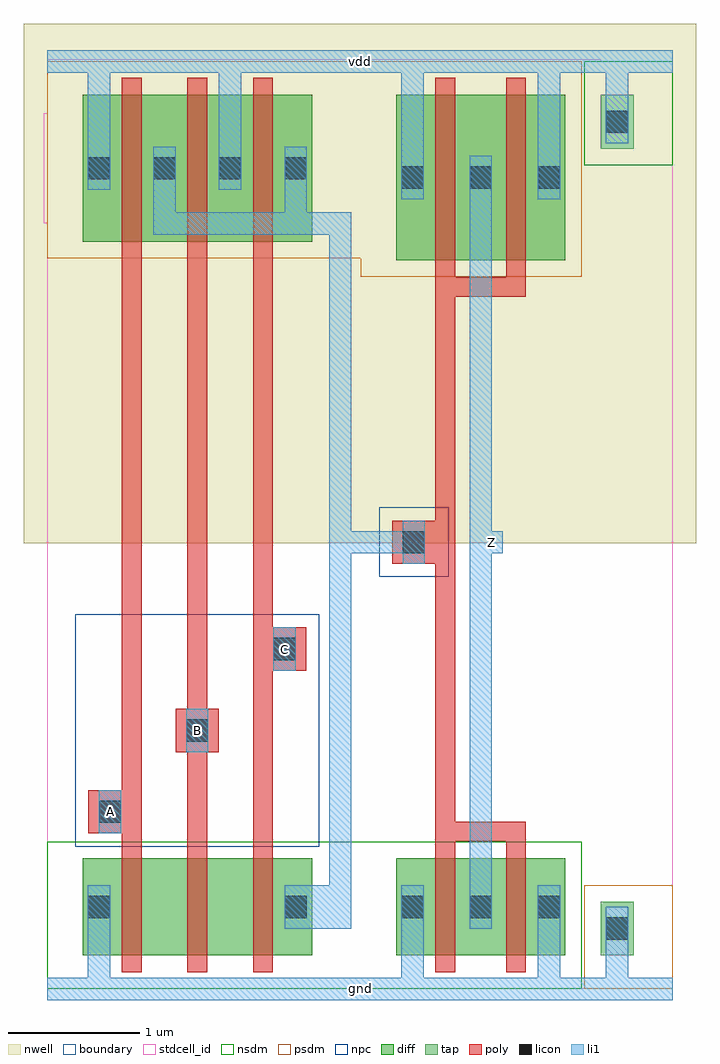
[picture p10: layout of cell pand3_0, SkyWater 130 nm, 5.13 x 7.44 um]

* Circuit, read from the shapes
.subckt pand3_0 A B C Z gnd vdd
XM1 pnand3_0/nmos_m1_w0_740_sli_dactive_3/D A gnd gnd sky130_fd_pr__nfet_01v8 w=0.74 l=0.15
XM2 pnand3_0/nmos_m1_w0_740_sactive_dactive_4/D B pnand3_0/nmos_m1_w0_740_sli_dactive_3/D gnd sky130_fd_pr__nfet_01v8 w=0.74 l=0.15
XM3 pdriver_3_1/A C pnand3_0/nmos_m1_w0_740_sactive_dactive_4/D gnd sky130_fd_pr__nfet_01v8 w=0.74 l=0.15
XM4 Z pdriver_3_1/A gnd gnd sky130_fd_pr__nfet_01v8 w=0.74 l=0.15 m=2
XM5 pdriver_3_1/A A vdd vdd sky130_fd_pr__pfet_01v8 w=1.12 l=0.15
XM6 vdd B pdriver_3_1/A vdd sky130_fd_pr__pfet_01v8 w=1.12 l=0.15
XM7 pdriver_3_1/A C vdd vdd sky130_fd_pr__pfet_01v8 w=1.12 l=0.15
XM8 Z pdriver_3_1/A vdd vdd sky130_fd_pr__pfet_01v8 w=1.26 l=0.15 m=2
.ends

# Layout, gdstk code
import gdstk
lib = gdstk.Library(unit=1e-6, precision=1e-09)
def R(c, l, rs):  # rectangles x0, y0, x1, y1
    for r in rs: c.add(gdstk.rectangle(r[:2], r[2:], *l))
def A(c, l, x, y, w, h, nx, ny, dx, dy):  # array of equal rectangles
    R(c, l, [(x+i*dx, y+j*dy, x+i*dx+w, y+j*dy+h) for i in range(nx) for j in range(ny)])
nwell = (64, 20)
diff = (65, 20)
tap = (65, 44)
poly = (66, 20)
licon = (66, 44)
li1 = (67, 20)
stdcell_id = (81, 4)
nsdm = (93, 44)
psdm = (94, 20)
npc = (95, 20)
boundary = (235, 4)

contact_11 = lib.new_cell('contact_11')
R(contact_11, nwell, [(-0.295,-0.255,0.545,0.585)])
R(contact_11, diff, [(0,0.02,0.25,0.31)])
R(contact_11, licon, [(0.04,0.08,0.21,0.25)])
R(contact_11, li1, [(0.04,0,0.21,0.33)])
R(contact_11, stdcell_id, [(-0.295,-0.255,0.545,0.585)])
R(contact_11, psdm, [(-0.125,-0.105,0.375,0.435)])
R(contact_11, boundary, [(-0.295,-0.255,0.545,0.585)])

pmos_m1_w1_120_sli_dli = lib.new_cell('pmos_m1_w1_120_sli_dli')
R(pmos_m1_w1_120_sli_dli, nwell, [(-0.27,-0.27,1.02,1.39)])
R(pmos_m1_w1_120_sli_dli, diff, [(0,0,0.75,1.12)])
R(pmos_m1_w1_120_sli_dli, poly, [(0.3,-0.13,0.45,1.25), (0.3,-0.13,0.45,1.25)])
R(pmos_m1_w1_120_sli_dli, li1, [(0.04,0.395,0.21,0.725), (0.54,0.395,0.71,0.725)])
R(pmos_m1_w1_120_sli_dli, stdcell_id, [(-0.27,-0.27,1.02,1.39)])
R(pmos_m1_w1_120_sli_dli, psdm, [(-0.125,-0.125,0.875,1.245)])
R(pmos_m1_w1_120_sli_dli, boundary, [(-0.27,-0.27,1.02,1.39)])
pmos_m1_w1_120_sli_dli.add(gdstk.Reference(contact_11, (0,0.395)))
pmos_m1_w1_120_sli_dli.add(gdstk.Reference(contact_11, (0.5,0.395)))
pmos_m1_w1_120_sli_dli.add(gdstk.Label('D', (0.625,0.56), layer=67, texttype=16))
pmos_m1_w1_120_sli_dli.add(gdstk.Label('S', (0.125,0.56), layer=67, texttype=16))
pmos_m1_w1_120_sli_dli.add(gdstk.Label('G', (0.375,0.56), layer=66, texttype=16))

contact_17 = lib.new_cell('contact_17')
R(contact_17, diff, [(0,0.02,0.25,0.31)])
R(contact_17, licon, [(0.04,0.08,0.21,0.25)])
R(contact_17, li1, [(0.04,0,0.21,0.33)])
R(contact_17, stdcell_id, [(-0.125,-0.105,0.375,0.435)])
R(contact_17, nsdm, [(-0.125,-0.105,0.375,0.435)])
R(contact_17, boundary, [(-0.125,-0.105,0.375,0.435)])

nmos_m1_w0_740_sli_dacti = lib.new_cell('nmos_m1_w0_740_sli_dactive')
R(nmos_m1_w0_740_sli_dacti, diff, [(0,0,0.75,0.74), (0.55,0.295,0.7,0.445)])
R(nmos_m1_w0_740_sli_dacti, poly, [(0.3,-0.13,0.45,0.87), (0.3,-0.13,0.45,0.87)])
R(nmos_m1_w0_740_sli_dacti, li1, [(0.04,0.205,0.21,0.535)])
R(nmos_m1_w0_740_sli_dacti, stdcell_id, [(-0.125,-0.13,0.875,0.87)])
R(nmos_m1_w0_740_sli_dacti, nsdm, [(-0.125,-0.125,0.875,0.865)])
R(nmos_m1_w0_740_sli_dacti, boundary, [(-0.125,-0.13,0.875,0.87)])
nmos_m1_w0_740_sli_dacti.add(gdstk.Reference(contact_17, (0,0.205)))
nmos_m1_w0_740_sli_dacti.add(gdstk.Label('D', (0.625,0.37), layer=65, texttype=16))
nmos_m1_w0_740_sli_dacti.add(gdstk.Label('S', (0.125,0.37), layer=67, texttype=16))
nmos_m1_w0_740_sli_dacti.add(gdstk.Label('G', (0.375,0.37), layer=66, texttype=16))

nmos_m1_w0_740_sactive_d = lib.new_cell('nmos_m1_w0_740_sactive_dactive')
R(nmos_m1_w0_740_sactive_d, diff, [(0,0,0.75,0.74), (0.05,0.295,0.2,0.445), (0.55,0.295,0.7,0.445)])
R(nmos_m1_w0_740_sactive_d, poly, [(0.3,-0.13,0.45,0.87), (0.3,-0.13,0.45,0.87)])
R(nmos_m1_w0_740_sactive_d, stdcell_id, [(-0.125,-0.13,0.875,0.87)])
R(nmos_m1_w0_740_sactive_d, nsdm, [(-0.125,-0.125,0.875,0.865)])
R(nmos_m1_w0_740_sactive_d, boundary, [(-0.125,-0.13,0.875,0.87)])
nmos_m1_w0_740_sactive_d.add(gdstk.Label('D', (0.625,0.37), layer=65, texttype=16))
nmos_m1_w0_740_sactive_d.add(gdstk.Label('S', (0.125,0.37), layer=65, texttype=16))
nmos_m1_w0_740_sactive_d.add(gdstk.Label('G', (0.375,0.37), layer=66, texttype=16))

c_nmos_m1_w0_740_sactive_d = lib.new_cell('nmos_m1_w0_740_sactive_dli')
R(c_nmos_m1_w0_740_sactive_d, diff, [(0,0,0.75,0.74), (0.05,0.295,0.2,0.445)])
R(c_nmos_m1_w0_740_sactive_d, poly, [(0.3,-0.13,0.45,0.87), (0.3,-0.13,0.45,0.87)])
R(c_nmos_m1_w0_740_sactive_d, li1, [(0.54,0.205,0.71,0.535)])
R(c_nmos_m1_w0_740_sactive_d, stdcell_id, [(-0.125,-0.13,0.875,0.87)])
R(c_nmos_m1_w0_740_sactive_d, nsdm, [(-0.125,-0.125,0.875,0.865)])
R(c_nmos_m1_w0_740_sactive_d, boundary, [(-0.125,-0.13,0.875,0.87)])
c_nmos_m1_w0_740_sactive_d.add(gdstk.Reference(contact_17, (0.5,0.205)))
c_nmos_m1_w0_740_sactive_d.add(gdstk.Label('D', (0.625,0.37), layer=67, texttype=16))
c_nmos_m1_w0_740_sactive_d.add(gdstk.Label('S', (0.125,0.37), layer=65, texttype=16))
c_nmos_m1_w0_740_sactive_d.add(gdstk.Label('G', (0.375,0.37), layer=66, texttype=16))

contact_12 = lib.new_cell('contact_12')
R(contact_12, poly, [(0,0,0.33,0.33)])
R(contact_12, licon, [(0.08,0.08,0.25,0.25)])
R(contact_12, li1, [(0.08,0,0.25,0.33)])
R(contact_12, stdcell_id, [(-0.1,-0.1,0.43,0.43)])
R(contact_12, npc, [(-0.1,-0.1,0.43,0.43)])
R(contact_12, boundary, [(-0.1,-0.1,0.43,0.43)])

pnand3 = lib.new_cell('pnand3')
R(pnand3, nwell, [(-0.18,3.395,2.57,7.355)])
A(pnand3, poly, 0.57, 1.125, 0.15, 4.44, 3, 1, 0.5, 0)
R(pnand3, poly, [(0.48,1.185,0.57,1.515), (1.07,1.805,1.145,2.135), (1.57,2.425,1.81,2.755)])
R(pnand3, li1, [(0,-0.085,2.39,0.085), (0.31,-0.085,0.48,0.46), (1.895,0.46,2.235,0.79), (2.15,0.46,2.32,5.835), (0.395,1.185,0.565,1.515), (1.06,1.805,1.23,2.135), (1.725,2.425,1.895,2.755), (0.81,5.75,0.98,5.92), (0.895,5.75,2.235,5.92), (1.81,5.75,1.98,5.92), (1.895,5.75,2.235,5.92), (2.15,5.75,2.32,5.92), (0.81,5.835,0.98,6.255), (1.81,5.835,1.98,6.255), (0.31,6.09,0.48,7.155), (1.31,6.09,1.48,7.155), (0,6.985,2.39,7.155)])
R(pnand3, stdcell_id, [(0,0,2.39,7.07), (0,0,2.39,7.07)])
R(pnand3, nsdm, [(0,0,2.39,1.12)])
R(pnand3, psdm, [(0,5.57,2.39,7.07)])
R(pnand3, npc, [(0.215,1.085,2.075,2.855)])
R(pnand3, boundary, [(0,0,2.39,7.07), (0,0,2.39,7.07)])
pnand3.add(gdstk.Reference(pmos_m1_w1_120_sli_dli, (0.27,5.695)))
pnand3.add(gdstk.Reference(pmos_m1_w1_120_sli_dli, (0.77,5.695)))
pnand3.add(gdstk.Reference(pmos_m1_w1_120_sli_dli, (1.27,5.695)))
pnand3.add(gdstk.Reference(nmos_m1_w0_740_sli_dacti, (0.27,0.255)))
pnand3.add(gdstk.Reference(nmos_m1_w0_740_sactive_d, (0.77,0.255)))
pnand3.add(gdstk.Reference(c_nmos_m1_w0_740_sactive_d, (1.27,0.255)))
pnand3.add(gdstk.Reference(contact_12, (0.315,1.185)))
pnand3.add(gdstk.Reference(contact_12, (0.98,1.805)))
pnand3.add(gdstk.Reference(contact_12, (1.645,2.425)))
pnand3.add(gdstk.Label('vdd', (1.195,7.07), layer=67, texttype=16))
pnand3.add(gdstk.Label('Z', (2.235,5.835), layer=67, texttype=16))
pnand3.add(gdstk.Label('C', (1.81,2.59), layer=67, texttype=16))
pnand3.add(gdstk.Label('B', (1.145,1.97), layer=67, texttype=16))
pnand3.add(gdstk.Label('gnd', (1.195,0), layer=67, texttype=16))
pnand3.add(gdstk.Label('A', (0.48,1.35), layer=67, texttype=16))

pmos_m2_w1_260_sli_dli_d = lib.new_cell('pmos_m2_w1_260_sli_dli_da_p')
R(pmos_m2_w1_260_sli_dli_d, nwell, [(-0.27,-0.27,1.56,1.53)])
R(pmos_m2_w1_260_sli_dli_d, diff, [(0,0,1.29,1.26)])
R(pmos_m2_w1_260_sli_dli_d, poly, [(0.3,-0.28,0.99,-0.13), (0.3,-0.13,0.45,1.39), (0.84,-0.13,0.99,1.39)])
A(pmos_m2_w1_260_sli_dli_d, li1, 0.04, 0.465, 0.17, 0.33, 3, 1, 0.52, 0)
R(pmos_m2_w1_260_sli_dli_d, stdcell_id, [(-0.27,-0.27,1.56,1.53)])
R(pmos_m2_w1_260_sli_dli_d, psdm, [(-0.125,-0.125,1.415,1.385)])
R(pmos_m2_w1_260_sli_dli_d, boundary, [(-0.27,-0.27,1.56,1.53)])
pmos_m2_w1_260_sli_dli_d.add(gdstk.Reference(contact_11, (0,0.465)))
pmos_m2_w1_260_sli_dli_d.add(gdstk.Reference(contact_11, (0.52,0.465)))
pmos_m2_w1_260_sli_dli_d.add(gdstk.Reference(contact_11, (1.04,0.465)))
pmos_m2_w1_260_sli_dli_d.add(gdstk.Label('D', (0.645,0.63), layer=67, texttype=16))
pmos_m2_w1_260_sli_dli_d.add(gdstk.Label('S', (0.125,0.63), layer=67, texttype=16))
pmos_m2_w1_260_sli_dli_d.add(gdstk.Label('S', (1.165,0.63), layer=67, texttype=16))
pmos_m2_w1_260_sli_dli_d.add(gdstk.Label('G', (0.645,-0.205), layer=66, texttype=16))

nmos_m2_w0_740_sli_dli_d = lib.new_cell('nmos_m2_w0_740_sli_dli_da_p')
R(nmos_m2_w0_740_sli_dli_d, diff, [(0,0,1.29,0.74)])
R(nmos_m2_w0_740_sli_dli_d, poly, [(0.3,-0.13,0.45,0.87), (0.84,-0.13,0.99,0.87), (0.3,0.87,0.99,1.02)])
A(nmos_m2_w0_740_sli_dli_d, li1, 0.04, 0.205, 0.17, 0.33, 3, 1, 0.52, 0)
R(nmos_m2_w0_740_sli_dli_d, stdcell_id, [(-0.125,-0.13,1.415,0.87)])
R(nmos_m2_w0_740_sli_dli_d, nsdm, [(-0.125,-0.125,1.415,0.865)])
R(nmos_m2_w0_740_sli_dli_d, boundary, [(-0.125,-0.13,1.415,0.87)])
nmos_m2_w0_740_sli_dli_d.add(gdstk.Reference(contact_17, (0,0.205)))
nmos_m2_w0_740_sli_dli_d.add(gdstk.Reference(contact_17, (0.52,0.205)))
nmos_m2_w0_740_sli_dli_d.add(gdstk.Reference(contact_17, (1.04,0.205)))
nmos_m2_w0_740_sli_dli_d.add(gdstk.Label('D', (0.645,0.37), layer=67, texttype=16))
nmos_m2_w0_740_sli_dli_d.add(gdstk.Label('S', (0.125,0.37), layer=67, texttype=16))
nmos_m2_w0_740_sli_dli_d.add(gdstk.Label('S', (1.165,0.37), layer=67, texttype=16))
nmos_m2_w0_740_sli_dli_d.add(gdstk.Label('G', (0.645,0.945), layer=66, texttype=16))

contact_24 = lib.new_cell('contact_24')
R(contact_24, nwell, [(-0.295,-0.215,0.545,0.625)])
R(contact_24, tap, [(0,0,0.25,0.41)])
R(contact_24, licon, [(0.04,0.12,0.21,0.29)])
R(contact_24, li1, [(0.04,0.04,0.21,0.37)])
R(contact_24, stdcell_id, [(-0.295,-0.215,0.545,0.625)])
R(contact_24, nsdm, [(-0.125,-0.125,0.375,0.535)])
R(contact_24, boundary, [(-0.295,-0.215,0.545,0.625)])

contact_25 = lib.new_cell('contact_25')
R(contact_25, tap, [(0,0,0.25,0.41)])
R(contact_25, licon, [(0.04,0.12,0.21,0.29)])
R(contact_25, li1, [(0.04,0.04,0.21,0.37)])
R(contact_25, stdcell_id, [(-0.125,-0.125,0.375,0.535)])
R(contact_25, psdm, [(-0.125,-0.125,0.375,0.535)])
R(contact_25, boundary, [(-0.125,-0.125,0.375,0.535)])

pinv_9 = lib.new_cell('pinv_9')
R(pinv_9, nwell, [(-0.18,3.395,2.56,7.355)])
R(pinv_9, poly, [(0.57,1.275,0.72,5.275), (0.405,3.24,0.57,3.57)])
R(pinv_9, li1, [(0,-0.085,2.38,0.085), (0.31,-0.085,0.48,0.46), (1.35,-0.085,1.52,0.46), (1.87,0,2.04,0.46), (0.83,0.46,1,6.35), (0.32,3.24,0.49,3.57), (0.915,3.32,1.085,3.49), (0.31,6.02,0.48,7.155), (1.35,6.02,1.52,7.155), (1.87,6.61,2.04,7.07), (0,6.985,2.38,7.155)])
R(pinv_9, stdcell_id, [(0,0,2.38,7.07), (0,0,2.38,7.07)])
R(pinv_9, nsdm, [(0,0,1.685,1.12), (1.705,6.28,2.38,7.07)])
R(pinv_9, psdm, [(1.705,0,2.38,0.79), (0,5.43,1.685,7.07)])
R(pinv_9, boundary, [(0,0,2.38,7.07), (0,0,2.38,7.07)])
pinv_9.add(gdstk.Reference(pmos_m2_w1_260_sli_dli_d, (0.27,5.555)))
pinv_9.add(gdstk.Reference(nmos_m2_w0_740_sli_dli_d, (0.27,0.255)))
pinv_9.add(gdstk.Reference(contact_24, (1.83,6.405)))
pinv_9.add(gdstk.Reference(contact_25, (1.83,0.255)))
pinv_9.add(gdstk.Reference(contact_12, (0.24,3.24)))
pinv_9.add(gdstk.Label('vdd', (1.19,7.07), layer=67, texttype=16))
pinv_9.add(gdstk.Label('gnd', (1.19,0), layer=67, texttype=16))
pinv_9.add(gdstk.Label('Z', (1,3.405), layer=67, texttype=16))
pinv_9.add(gdstk.Label('A', (0.405,3.405), layer=67, texttype=16))

pdriver_3 = lib.new_cell('pdriver_3')
R(pdriver_3, nwell, [(-0.18,3.395,2.56,7.355)])
R(pdriver_3, li1, [(0,-0.085,2.38,0.085), (0.32,3.24,0.49,3.57), (0.915,3.32,1.085,3.49), (0,6.985,2.38,7.155)])
R(pdriver_3, stdcell_id, [(0,0,2.38,7.07), (0,0,2.38,7.07)])
R(pdriver_3, boundary, [(0,0,2.38,7.07), (0,0,2.38,7.07)])
pdriver_3.add(gdstk.Reference(pinv_9, (0,0)))
pdriver_3.add(gdstk.Label('vdd', (1.19,7.07), layer=67, texttype=16))
pdriver_3.add(gdstk.Label('gnd', (1.19,0), layer=67, texttype=16))
pdriver_3.add(gdstk.Label('Z', (1,3.405), layer=67, texttype=16))
pdriver_3.add(gdstk.Label('A', (0.405,3.405), layer=67, texttype=16))

pand3_0 = lib.new_cell('pand3_0')
R(pand3_0, li1, [(0,-0.085,4.77,0.085), (0.395,1.185,0.565,1.515), (1.06,1.805,1.23,2.135), (1.725,2.425,1.895,2.755), (2.15,3.32,2.32,3.49), (2.235,3.32,2.795,3.49), (3.305,3.32,3.475,3.49), (2.15,3.405,2.32,5.835), (0,6.985,4.77,7.155)])
R(pand3_0, stdcell_id, [(0,0,4.77,7.07), (0,0,4.77,7.07)])
R(pand3_0, boundary, [(0,0,4.77,7.07), (0,0,4.77,7.07)])
pand3_0.add(gdstk.Reference(pnand3, (0,0)))
pand3_0.add(gdstk.Reference(pdriver_3, (2.39,0)))
pand3_0.add(gdstk.Label('vdd', (2.385,7.07), layer=67, texttype=16))
pand3_0.add(gdstk.Label('Z', (3.39,3.405), layer=67, texttype=16))
pand3_0.add(gdstk.Label('C', (1.81,2.59), layer=67, texttype=16))
pand3_0.add(gdstk.Label('B', (1.145,1.97), layer=67, texttype=16))
pand3_0.add(gdstk.Label('gnd', (2.385,0), layer=67, texttype=16))
pand3_0.add(gdstk.Label('A', (0.48,1.35), layer=67, texttype=16))

lib.write_gds('pand3_0.gds')
